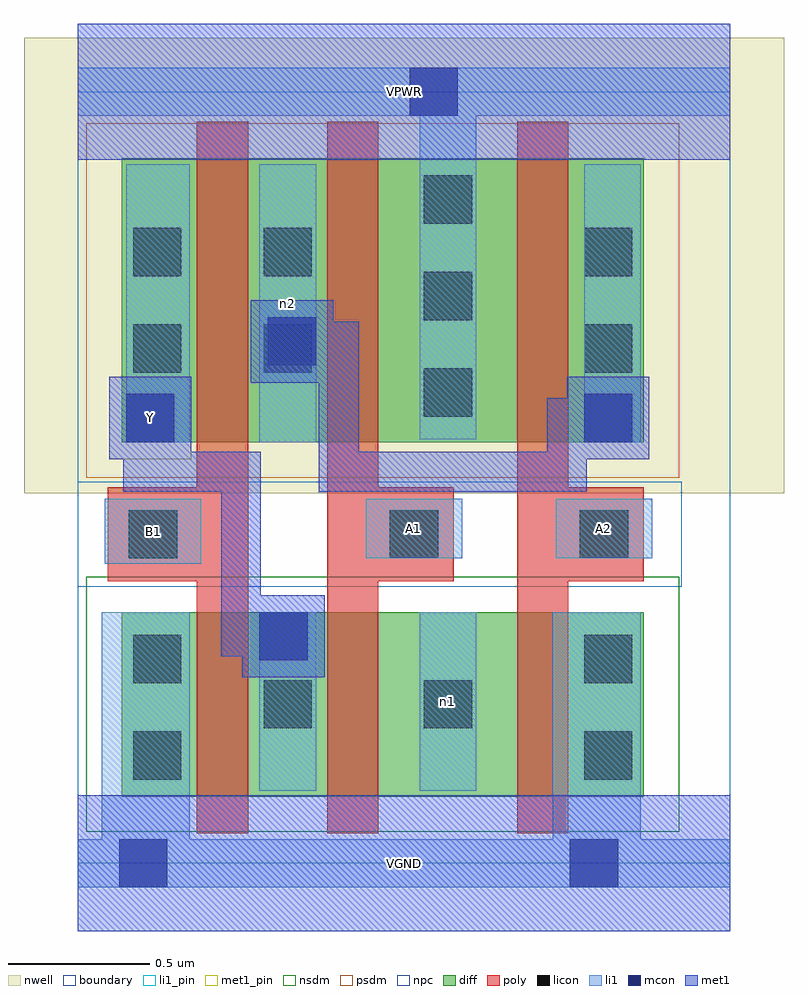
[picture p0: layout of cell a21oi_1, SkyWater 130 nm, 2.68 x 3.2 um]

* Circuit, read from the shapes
.subckt a21oi_1 A1 A2 B1 VGND VPWR Y n1 n2
XM1 Y B1 VGND VSUBS sky130_fd_pr__nfet_01v8 w=0.65 l=0.18
XM2 n1 A1 Y VSUBS sky130_fd_pr__nfet_01v8 w=0.65 l=0.18
XM3 VGND A2 n1 VSUBS sky130_fd_pr__nfet_01v8 w=0.65 l=0.18
XM4 n2 B1 Y n3 sky130_fd_pr__pfet_01v8 w=1 l=0.18
XM5 VPWR A1 n2 n3 sky130_fd_pr__pfet_01v8 w=1 l=0.18
XM6 n2 A2 VPWR n3 sky130_fd_pr__pfet_01v8 w=1 l=0.18
.ends

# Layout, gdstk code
import gdstk
lib = gdstk.Library(unit=1e-6, precision=1e-09)
def R(c, l, rs):  # rectangles x0, y0, x1, y1
    for r in rs: c.add(gdstk.rectangle(r[:2], r[2:], *l))
def A(c, l, x, y, w, h, nx, ny, dx, dy):  # array of equal rectangles
    R(c, l, [(x+i*dx, y+j*dy, x+i*dx+w, y+j*dy+h) for i in range(nx) for j in range(ny)])
nwell = (64, 20)
diff = (65, 20)
poly = (66, 20)
licon = (66, 44)
li1_pin = (67, 16)
li1 = (67, 20)
mcon = (67, 44)
met1_pin = (68, 16)
met1 = (68, 20)
nsdm = (93, 44)
psdm = (94, 20)
npc = (95, 20)
boundary = (235, 4)

a21oi_1 = lib.new_cell('a21oi_1')
R(a21oi_1, nwell, [(-0.19,1.305,2.49,2.91), (0,1.305,2.3,2.91)])
R(a21oi_1, diff, [(0.155,0.235,1.995,0.885), (0.155,1.485,1.995,2.485)])
R(a21oi_1, poly, [(0.42,0.105,0.6,2.615), (0.88,0.105,1.06,2.615), (1.55,0.105,1.73,2.615), (0.105,0.995,0.6,1.325), (0.88,0.995,1.325,1.325), (1.55,0.995,1.995,1.325)])
A(a21oi_1, licon, 1.22, 1.575, 0.17, 0.17, 1, 3, 0, 0.34)
R(a21oi_1, licon, [(0.195,0.295,0.365,0.465), (1.785,0.295,1.955,0.465), (0.655,0.475,0.825,0.645), (1.22,0.475,1.39,0.645), (0.195,0.635,0.365,0.805), (1.785,0.635,1.955,0.805), (0.18,1.075,0.35,1.245), (1.1,1.075,1.27,1.245), (1.77,1.075,1.94,1.245), (0.195,1.73,0.365,1.9), (0.655,1.73,0.825,1.9), (1.785,1.73,1.955,1.9), (0.195,2.07,0.365,2.24), (0.655,2.07,0.825,2.24), (1.785,2.07,1.955,2.24)])
R(a21oi_1, li1_pin, [(0.095,1.055,0.435,1.285), (1.015,1.075,1.355,1.285), (1.685,1.075,2.025,1.285)])
R(a21oi_1, li1, [(0,-0.085,2.3,0.085), (0.085,-0.085,0.395,0.885), (1.675,-0.085,1.985,0.885), (0.64,0.255,0.84,0.885), (1.205,0.255,1.405,0.885), (0.095,1.055,0.435,1.285), (1.015,1.075,1.355,1.285), (1.685,1.075,2.025,1.285), (0.17,1.485,0.395,2.465), (0.64,1.485,0.84,2.465), (1.785,1.485,1.985,2.465), (1.205,1.495,1.405,2.805), (0,2.635,2.3,2.805)])
R(a21oi_1, mcon, [(0.145,-0.085,0.315,0.085), (1.735,-0.085,1.905,0.085), (0.64,0.715,0.81,0.885), (0.17,1.485,0.34,1.655), (1.785,1.485,1.955,1.655), (0.67,1.755,0.84,1.925), (1.17,2.635,1.34,2.805)])
R(a21oi_1, met1_pin, [(0,-0.24,2.3,0.24), (0.11,1.425,0.4,1.715), (0,2.48,2.3,2.96)])
R(a21oi_1, met1, [(0,-0.24,2.3,0.24), (0.58,0.655,0.87,0.945), (0.505,0.73,0.795,0.87), (0.505,0.73,0.645,0.99), (0.505,0.85,0.645,1.45), (0.16,1.31,0.3,1.64), (0.16,1.31,0.645,1.45), (0.85,1.31,0.99,1.91), (0.85,1.31,1.795,1.45), (1.655,1.31,1.795,1.64), (0.11,1.425,0.4,1.715), (1.725,1.425,2.015,1.715), (0.16,1.5,0.325,1.64), (1.655,1.5,1.94,1.64), (0.61,1.695,0.9,1.985), (0.685,1.77,0.99,1.91), (0,2.48,2.3,2.96)])
R(a21oi_1, nsdm, [(0.03,0.11,2.12,1.01)])
R(a21oi_1, psdm, [(0.03,1.36,2.12,2.61)])
R(a21oi_1, npc, [(0,0.975,2.13,1.345)])
R(a21oi_1, boundary, [(0,0,2.3,2.72)])
a21oi_1.add(gdstk.Label('A1', (1.185,1.18), layer=67, texttype=5))
a21oi_1.add(gdstk.Label('A2', (1.855,1.18), layer=67, texttype=5))
a21oi_1.add(gdstk.Label('B1', (0.265,1.17), layer=67, texttype=5))
a21oi_1.add(gdstk.Label('n2', (0.74,1.975), layer=67, texttype=5))
a21oi_1.add(gdstk.Label('n1', (1.305,0.57), layer=67, texttype=5))
a21oi_1.add(gdstk.Label('Y', (0.255,1.57), layer=68, texttype=5))
a21oi_1.add(gdstk.Label('VPWR', (1.15,2.72), layer=68, texttype=5))
a21oi_1.add(gdstk.Label('VGND', (1.15,0), layer=68, texttype=5))
a21oi_1.add(gdstk.Label('A1', (1.185,1.18), layer=67, texttype=16))
a21oi_1.add(gdstk.Label('A2', (1.855,1.18), layer=67, texttype=16))
a21oi_1.add(gdstk.Label('B1', (0.265,1.17), layer=67, texttype=16))
a21oi_1.add(gdstk.Label('Y', (0.255,1.57), layer=68, texttype=16))
a21oi_1.add(gdstk.Label('VPWR', (1.15,2.72), layer=68, texttype=16))
a21oi_1.add(gdstk.Label('VGND', (1.15,0), layer=68, texttype=16))

lib.write_gds('a21oi_1.gds')
